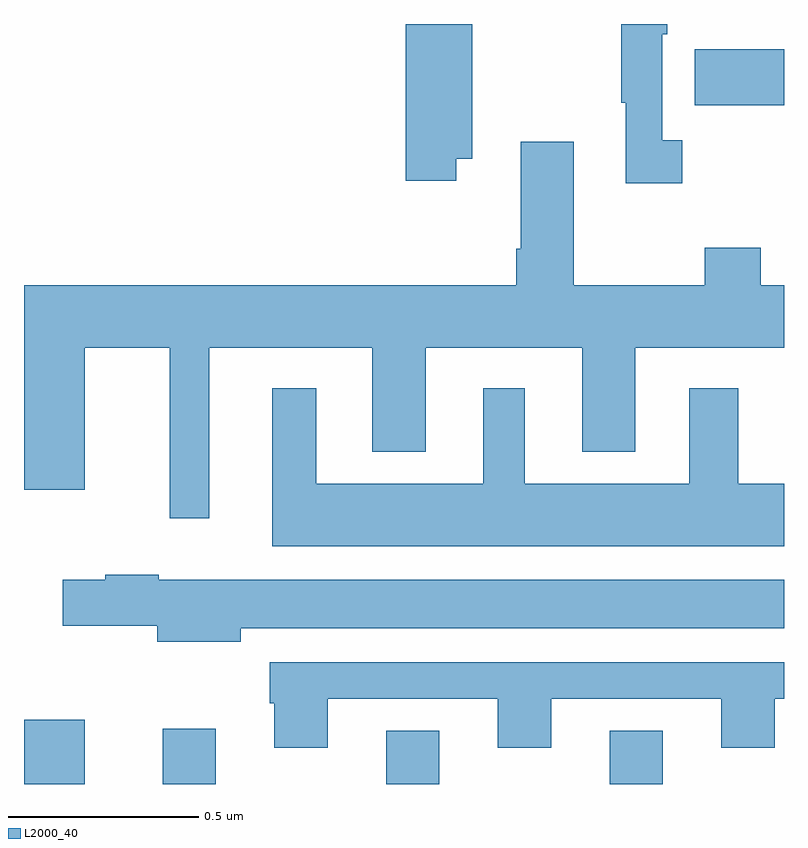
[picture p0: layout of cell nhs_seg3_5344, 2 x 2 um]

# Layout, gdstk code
import gdstk
lib = gdstk.Library(unit=1e-6, precision=1e-09)
def R(c, l, rs):  # rectangles x0, y0, x1, y1
    for r in rs: c.add(gdstk.rectangle(r[:2], r[2:], *l))
def P(c, l, *ps):  # polygons
    for p in ps: c.add(gdstk.Polygon(p, *l))
L2000_40 = (2000, 40)

nhs_seg3_5344 = lib.new_cell('nhs_seg3_5344')
R(nhs_seg3_5344, L2000_40, [(177,734.4,177.16,734.569), (177.365,734.4,177.505,734.545), (177.953,734.4,178.093,734.54), (178.541,734.4,178.681,734.54), (178.765,736.186,179,736.333)])
P(nhs_seg3_5344, L2000_40, [(178.732,736.094),(178.68,736.094),(178.68,736.373),(178.693,736.373),(178.693,736.4),(178.572,736.4),(178.572,736.193),(178.583,736.193),(178.583,735.981),(178.732,735.981)],
  [(178.138,736.046),(178.179,736.046),(178.179,736.4),(178.004,736.4),(178.004,735.987),(178.138,735.987)],
  [(177.487,735.548),(177.917,735.548),(177.917,735.275),(178.057,735.275),(178.057,735.548),(178.469,735.548),(178.469,735.275),(178.609,735.275),(178.609,735.548),(179,735.548),(179,735.712),(178.939,735.712),(178.939,735.811),(178.792,735.811),(178.792,735.712),(178.447,735.712),(178.447,736.09),(178.307,736.09),(178.307,735.808),(178.295,735.808),(178.295,735.712),(177,735.712),(177,735.174),(177.16,735.174),(177.16,735.548),(177.383,735.548),(177.383,735.099),(177.487,735.099)],
  [(179,735.19),(178.879,735.19),(178.879,735.442),(178.751,735.442),(178.751,735.19),(178.318,735.19),(178.318,735.442),(178.208,735.442),(178.208,735.19),(177.769,735.19),(177.769,735.442),(177.653,735.442),(177.653,735.026),(179,735.026)],
  [(177.571,734.81),(179,734.81),(179,734.938),(177.354,734.938),(177.354,734.951),(177.214,734.951),(177.214,734.938),(177.102,734.938),(177.102,734.816),(177.35,734.816),(177.35,734.774),(177.571,734.774)],
  [(177.799,734.625),(178.247,734.625),(178.247,734.496),(178.387,734.496),(178.387,734.625),(178.835,734.625),(178.835,734.496),(178.975,734.496),(178.975,734.625),(179,734.625),(179,734.721),(177.647,734.721),(177.647,734.613),(177.659,734.613),(177.659,734.496),(177.799,734.496)])

lib.write_gds('nhs_seg3_5344.gds')
